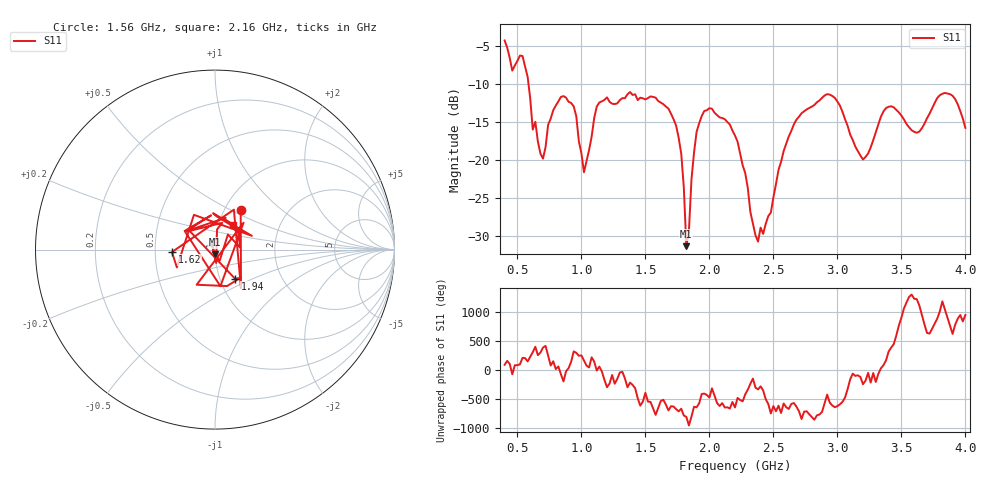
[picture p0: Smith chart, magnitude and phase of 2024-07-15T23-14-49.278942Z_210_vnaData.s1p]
!Created with skrf (http://scikit-rf.org).
# Hz S RI R 50.0
!freq ReS11 ImS11
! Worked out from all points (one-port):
!   181 points, 400 MHz to 4 GHz, reference 50 ohm
!   lowest |S11| = -31.3 dB at 1.82 GHz (marker M1), VSWR 1.06, Z = 49.8 - j2.72 ohm
!   |S11| at or under -10 dB: 587.1 MHz to end of sweep
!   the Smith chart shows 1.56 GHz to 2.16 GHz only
!   S11 on the Smith chart (normalised r, x): 1.56 GHz: 1.19, +0.56; 1.62 GHz: 0.61, -0.02; 1.94 GHz: 1.18, -0.40; 2.16 GHz: 1.17, +0.34
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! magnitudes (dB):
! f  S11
! 400 MHz  -4.2
! 460 MHz  -8.2
! 540 MHz  -6.2
! 620 MHz  -15.9
! 700 MHz  -19.8
! 860 MHz  -11.5
! 940 MHz  -12.9
! 1.02 GHz  -21.6
! 1.12 GHz  -12.9
! 1.3 GHz  -12.1
! 1.56 GHz  -11.6
! 1.62 GHz  -12.4
! 1.76 GHz  -17.0
! 1.8 GHz  -23.5
! 1.82 GHz  -31.3
! 1.88 GHz  -18.9
! 1.94 GHz  -14.2
! 2.16 GHz  -15.3
! 2.2 GHz  -16.7
! 2.38 GHz  -30.7
! 2.66 GHz  -15.2
! 2.94 GHz  -11.3
! 3.1 GHz  -16.6
! 3.2 GHz  -19.9
! 3.38 GHz  -13.1
! 3.56 GHz  -15.6
! 3.84 GHz  -11.1
! 4 GHz  -15.7
